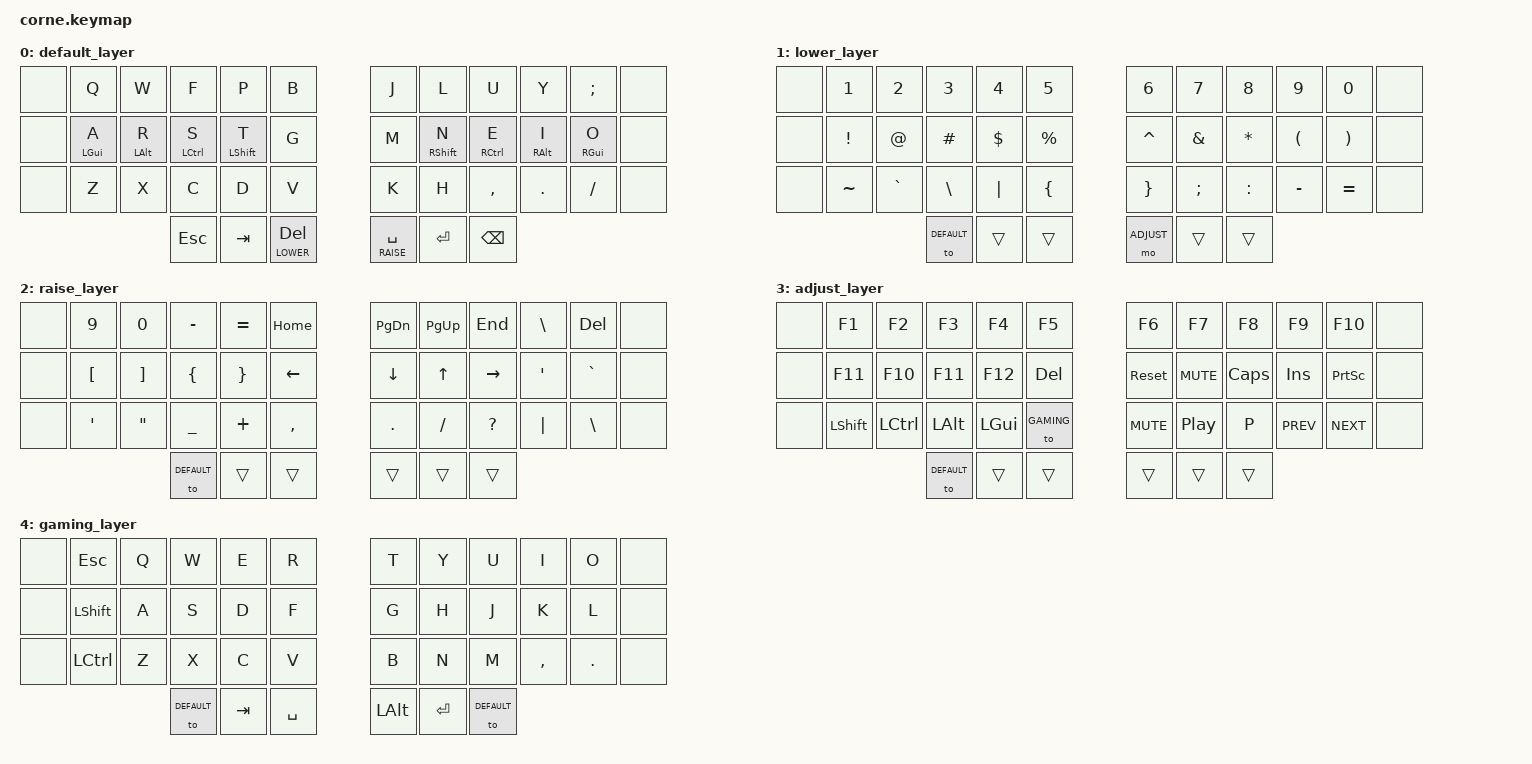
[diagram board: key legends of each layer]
/*
 * Copyright (c) 2023 Your Name
 *
 * SPDX-License-Identifier: MIT
 */

#include <behaviors.dtsi>
#include <dt-bindings/zmk/keys.h>
#include <dt-bindings/zmk/bt.h>

// Layer definitions
#define DEFAULT 0
#define LOWER   1
#define RAISE   2
#define ADJUST  3
#define GAMING  4

/ {
    // Behaviors and macros can be defined here

    // Home row mods
    behaviors {
        hm: homerow_mods {
            compatible = "zmk,behavior-hold-tap";
            label = "HOMEROW_MODS";
            #binding-cells = <2>;
            tapping-term-ms = <200>;
            quick-tap-ms = <0>;
            flavor = "tap-preferred";
            bindings = <&kp>, <&kp>;
        };
    };

    // Keymap
    keymap {
        compatible = "zmk,keymap";

        default_layer {
            // Modified 3x6+3 layout with Colemak DH and blank outer columns
            // ╭─────┬─────┬─────┬─────┬─────┬─────╮   ╭─────┬─────┬─────┬─────┬─────┬─────╮
            // │     │  Q  │  W  │  F  │  P  │  B  │   │  J  │  L  │  U  │  Y  │  ;  │     │
            // ├─────┼─────┼─────┼─────┼─────┼─────┤   ├─────┼─────┼─────┼─────┼─────┼─────┤
            // │     │  A  │  R  │  S  │  T  │  G  │   │  M  │  N  │  E  │  I  │  O  │     │
            // ├─────┼─────┼─────┼─────┼─────┼─────┤   ├─────┼─────┼─────┼─────┼─────┼─────┤
            // │     │  Z  │  X  │  C  │  D  │  V  │   │  K  │  H  │  ,  │  .  │  /  │     │
            // ╰─────┴─────┴─────┴─────┼─────┼─────┤   ├─────┼─────┼─────┴─────┴─────┴─────╯
            //                         │ ESC │ TAB │   │ ENT │BSPC │
            //                         │     │     │   │     │     │
            //                         │     │LOWER│   │RAISE│     │
            //                         ╰─────┴─────╯   ╰─────┴─────╯

            bindings = <
                &none  &kp Q       &kp W       &kp F       &kp P       &kp B          &kp J       &kp L       &kp U       &kp Y       &kp SEMI    &none
                &none  &hm LGUI A  &hm LALT R  &hm LCTRL S &hm LSHFT T &kp G          &kp M       &hm RSHFT N &hm RCTRL E &hm RALT I  &hm RGUI O  &none
                &none  &kp Z       &kp X       &kp C       &kp D       &kp V          &kp K       &kp H       &kp COMMA   &kp DOT     &kp FSLH    &none
                                                &kp ESC     &kp TAB     &lt LOWER DEL  &lt RAISE SPACE &kp RET &kp BSPC
            >;
        };

        lower_layer {
            // Lower layer
            // ╭─────┬─────┬─────┬─────┬─────┬─────╮   ╭─────┬─────┬─────┬─────┬─────┬─────╮
            // │     │  1  │  2  │  3  │  4  │  5  │   │  6  │  7  │  8  │  9  │  0  │     │
            // ├─────┼─────┼─────┼─────┼─────┼─────┤   ├─────┼─────┼─────┼─────┼─────┼─────┤
            // │     │  !  │  @  │  #  │  $  │  %  │   │  ^  │  &  │  *  │  (  │  )  │     │
            // ├─────┼─────┼─────┼─────┼─────┼─────┤   ├─────┼─────┼─────┼─────┼─────┼─────┤
            // │     │  ~  │  `  │  \  │  |  │  {  │   │  }  │  ;  │  :  │  -  │  =  │     │
            // ╰─────┴─────┴─────┴─────┼─────┼─────┤   ├─────┼─────┼─────┴─────┴─────┴─────╯
            //                         │     │     │   │     │     │
            //                         │     │     │   │     │     │
            //                         │     │     │   │     │     │
            //                         ╰─────┴─────╯   ╰─────┴─────╯

            bindings = <
                &none  &kp N1      &kp N2      &kp N3      &kp N4      &kp N5         &kp N6      &kp N7      &kp N8      &kp N9      &kp N0      &none
                &none  &kp EXCL    &kp AT      &kp HASH    &kp DOLLAR  &kp PRCNT      &kp CARET   &kp AMPS    &kp ASTRK   &kp LPAR    &kp RPAR    &none
                &none  &kp TILDE   &kp GRAVE   &kp BSLH    &kp PIPE    &kp LBRC       &kp RBRC    &kp SEMI    &kp COLON   &kp MINUS   &kp EQUAL   &none
                                                &to DEFAULT &trans      &trans         &mo ADJUST  &trans      &trans
            >;
        };

        raise_layer {
            // Raise layer
            // ╭─────┬─────┬─────┬─────┬─────┬─────╮   ╭─────┬─────┬─────┬─────┬─────┬─────╮
            // │     │  9  │  0  │  -  │  =  │HOME │   │PGDN │PGUP │ END │  \  │ DEL │     │
            // ├─────┼─────┼─────┼─────┼─────┼─────┤   ├─────┼─────┼─────┼─────┼─────┼─────┤
            // │     │  [  │  ]  │  {  │  }  │LEFT │   │DOWN │ UP  │RIGHT│  '  │  `  │     │
            // ├─────┼─────┼─────┼─────┼─────┼─────┤   ├─────┼─────┼─────┼─────┼─────┼─────┤
            // │     │  '  │  "  │  _  │  +  │  ,  │   │  .  │  /  │  ?  │  |  │  \  │     │
            // ╰─────┴─────┴─────┴─────┼─────┼─────┤   ├─────┼─────┼─────┴─────┴─────┴─────╯
            //                         │     │     │   │     │     │
            //                         │     │     │   │     │     │
            //                         │     │     │   │     │     │
            //                         ╰─────┴─────╯   ╰─────┴─────╯

            bindings = <
                &none  &kp N9      &kp N0      &kp MINUS   &kp EQUAL   &kp HOME       &kp PG_DN   &kp PG_UP   &kp END     &kp BSLH    &kp DEL     &none
                &none  &kp LBKT    &kp RBKT    &kp LBRC    &kp RBRC    &kp LEFT       &kp DOWN    &kp UP      &kp RIGHT   &kp SQT     &kp GRAVE   &none
                &none  &kp SQT     &kp DQT     &kp UNDER   &kp PLUS    &kp COMMA      &kp DOT     &kp FSLH    &kp QMARK   &kp PIPE    &kp BSLH    &none
                                                &to DEFAULT &trans      &trans         &trans      &trans      &trans
            >;
        };

        adjust_layer {
            // Adjust layer
            // ╭─────┬─────┬─────┬─────┬─────┬─────╮   ╭─────┬─────┬─────┬─────┬─────┬─────╮
            // │     │ F1  │ F2  │ F3  │ F4  │ F5  │   │ F6  │ F7  │ F8  │ F9  │ F10 │     │
            // ├─────┼─────┼─────┼─────┼─────┼─────┤   ├─────┼─────┼─────┼─────┼─────┼─────┤
            // │     │ F11 │ F10 │ F11 │ F12 │ DEL │   │RESET│DEBUG│CAPS │ INS │PSCR │     │
            // ├─────┼─────┼─────┼─────┼─────┼─────┤   ├─────┼─────┼─────┼─────┼─────┼─────┤
            // │     │LSFT │LCTL │LALT │LGUI │GAME │   │MUTE │PLAY │  P  │PREV │NEXT │     │
            // ╰─────┴─────┴─────┴─────┼─────┼─────┤   ├─────┼─────┼─────┴─────┴─────┴─────╯
            //                         │     │     │   │     │     │
            //                         │     │     │   │     │     │
            //                         │     │     │   │     │     │
            //                         ╰─────┴─────╯   ╰─────┴─────╯

            bindings = <
                &none  &kp F1      &kp F2      &kp F3      &kp F4      &kp F5         &kp F6      &kp F7      &kp F8      &kp F9      &kp F10     &none
                &none  &kp F11     &kp F10     &kp F11     &kp F12     &kp DEL        &sys_reset  &kp C_MUTE  &kp CAPS    &kp INS     &kp PSCRN   &none
                &none  &kp LSHFT   &kp LCTRL   &kp LALT    &kp LGUI    &to GAMING     &kp C_MUTE  &kp C_PP    &kp P       &kp C_PREV  &kp C_NEXT  &none
                                                &to DEFAULT &trans      &trans         &trans      &trans      &trans
            >;
        };

        gaming_layer {
            // Gaming layer - Optimized for WASD and common gaming controls
            // Switched to QWERTY-based layout for familiar gaming positions
            // ╭─────┬─────┬─────┬─────┬─────┬─────╮   ╭─────┬─────┬─────┬─────┬─────┬─────╮
            // │     │ ESC │  Q  │  W  │  E  │  R  │   │  T  │  Y  │  U  │  I  │  O  │     │
            // ├─────┼─────┼─────┼─────┼─────┼─────┤   ├─────┼─────┼─────┼─────┼─────┼─────┤
            // │     │SHIFT│  A  │  S  │  D  │  F  │   │  G  │  H  │  J  │  K  │  L  │     │
            // ├─────┼─────┼─────┼─────┼─────┼─────┤   ├─────┼─────┼─────┼─────┼─────┼─────┤
            // │     │CTRL │  Z  │  X  │  C  │  V  │   │  B  │  N  │  M  │  ,  │  .  │     │
            // ╰─────┴─────┴─────┴─────┼─────┼─────┤   ├─────┼─────┼─────┴─────┴─────┴─────╯
            //                         │     │     │   │     │     │
            //                         │     │     │   │     │     │
            //                         │     │     │   │     │     │
            //                         ╰─────┴─────╯   ╰─────┴─────╯

            bindings = <
                &none  &kp ESC     &kp Q       &kp W       &kp E       &kp R          &kp T       &kp Y       &kp U       &kp I       &kp O       &none
                &none  &kp LSHFT   &kp A       &kp S       &kp D       &kp F          &kp G       &kp H       &kp J       &kp K       &kp L       &none
                &none  &kp LCTRL   &kp Z       &kp X       &kp C       &kp V          &kp B       &kp N       &kp M       &kp COMMA   &kp DOT     &none
                                                &to DEFAULT &kp TAB     &kp SPACE      &kp LALT    &kp RET     &to DEFAULT
            >;
        };
    };

    // Optionally define combos for special actions
    combos {
        compatible = "zmk,combos";
        combo_gaming {
            timeout-ms = <50>;
            key-positions = <26 33>; // Z and M keys
            bindings = <&to GAMING>;
        };
    };
};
